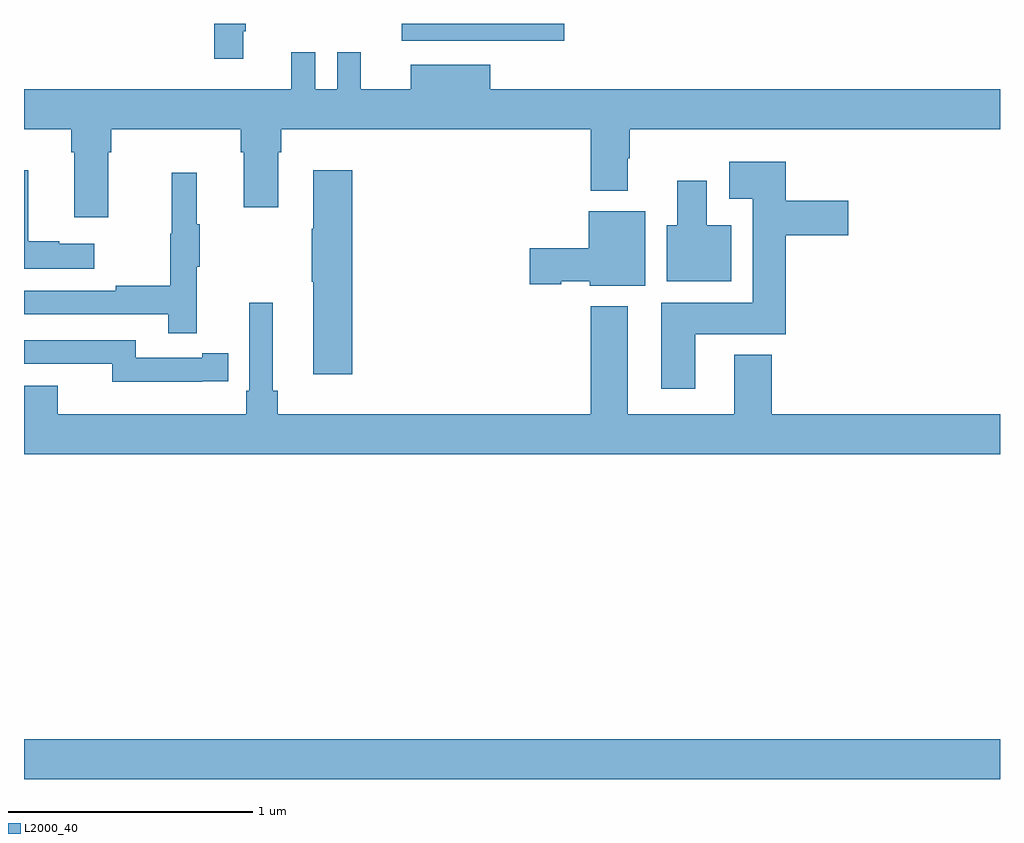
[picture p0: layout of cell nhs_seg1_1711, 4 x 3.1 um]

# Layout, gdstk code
import gdstk
lib = gdstk.Library(unit=1e-6, precision=1e-09)
def R(c, l, rs):  # rectangles x0, y0, x1, y1
    for r in rs: c.add(gdstk.rectangle(r[:2], r[2:], *l))
def P(c, l, *ps):  # polygons
    for p in ps: c.add(gdstk.Polygon(p, *l))
L2000_40 = (2000, 40)

nhs_seg1_1711 = lib.new_cell('nhs_seg1_1711')
R(nhs_seg1_1711, L2000_40, [(205,513.104,209,513.268), (206.549,516.131,207.214,516.199)])
P(nhs_seg1_1711, L2000_40, [(205.898,516.169),(205.909,516.169),(205.909,516.199),(205.78,516.199),(205.78,516.057),(205.898,516.057)],
  [(205.345,515.672),(205.358,515.672),(205.358,515.768),(205.889,515.768),(205.889,515.672),(205.901,515.672),(205.901,515.448),(206.041,515.448),(206.041,515.672),(206.054,515.672),(206.054,515.768),(207.323,515.768),(207.323,515.516),(207.475,515.516),(207.475,515.648),(207.483,515.648),(207.483,515.768),(209,515.768),(209,515.932),(206.911,515.932),(206.911,516.031),(206.585,516.031),(206.585,515.932),(206.381,515.932),(206.381,516.082),(206.283,516.082),(206.283,515.932),(206.193,515.932),(206.193,516.082),(206.096,516.082),(206.096,515.932),(205,515.932),(205,515.768),(205.193,515.768),(205.193,515.672),(205.205,515.672),(205.205,515.406),(205.345,515.406)],
  [(207.751,514.928),(208.121,514.928),(208.121,515.333),(208.378,515.333),(208.378,515.475),(208.121,515.475),(208.121,515.635),(207.891,515.635),(207.891,515.483),(207.986,515.483),(207.986,515.056),(207.611,515.056),(207.611,514.704),(207.751,514.704)],
  [(205.288,515.299),(205.145,515.299),(205.145,515.309),(205.018,515.309),(205.018,515.599),(205,515.599),(205,515.195),(205.288,515.195)],
  [(206.345,515.599),(206.186,515.599),(206.186,515.36),(206.179,515.36),(206.179,515.143),(206.186,515.143),(206.186,514.764),(206.345,514.764)],
  [(205.709,515.203),(205.72,515.203),(205.72,515.377),(205.709,515.377),(205.709,515.59),(205.606,515.59),(205.606,515.34),(205.599,515.34),(205.599,515.126),(205.375,515.126),(205.375,515.106),(205,515.106),(205,515.01),(205.591,515.01),(205.591,514.932),(205.709,514.932)],
  [(207.898,515.374),(207.799,515.374),(207.799,515.557),(207.677,515.557),(207.677,515.374),(207.635,515.374),(207.635,515.144),(207.898,515.144)],
  [(207.547,515.431),(207.314,515.431),(207.314,515.279),(207.072,515.279),(207.072,515.132),(207.201,515.132),(207.201,515.144),(207.318,515.144),(207.318,515.126),(207.547,515.126)],
  [(209,514.6),(208.064,514.6),(208.064,514.843),(207.911,514.843),(207.911,514.6),(207.475,514.6),(207.475,515.041),(207.323,515.041),(207.323,514.6),(206.039,514.6),(206.039,514.696),(206.02,514.696),(206.02,515.056),(205.923,515.056),(205.923,514.696),(205.91,514.696),(205.91,514.6),(205.138,514.6),(205.138,514.717),(205,514.717),(205,514.436),(209,514.436)],
  [(205.73,514.734),(205.838,514.734),(205.838,514.85),(205.73,514.85),(205.73,514.83),(205.458,514.83),(205.458,514.902),(205,514.902),(205,514.806),(205.362,514.806),(205.362,514.733),(205.73,514.733)])

lib.write_gds('nhs_seg1_1711.gds')
